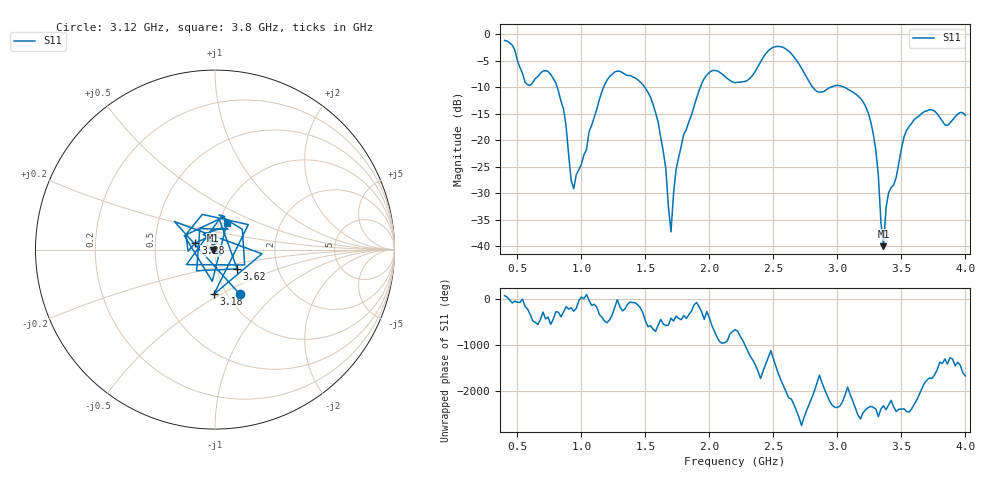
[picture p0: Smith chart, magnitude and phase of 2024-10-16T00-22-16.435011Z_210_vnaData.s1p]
! Created with skrf (http://scikit-rf.org).
# Hz S RI R 50.0
!freq ReS11 ImS11
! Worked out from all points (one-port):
!   181 points, 400 MHz to 4 GHz, reference 50 ohm
!   lowest |S11| = -40.0 dB at 3.36 GHz (marker M1), VSWR 1.02, Z = 49 - j0.231 ohm
!   |S11| at or under -10 dB: 810.9 MHz to 1.174 GHz (362.7 MHz wide, 36.6 % of centre); 1.494 GHz to 1.929 GHz (434.6 MHz wide, 25.4 % of centre); 3.054 GHz to end of sweep (the widest 3 of 4)
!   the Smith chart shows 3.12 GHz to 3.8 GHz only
!   S11 on the Smith chart (normalised r, x): 3.12 GHz: 1.14, -0.62; 3.18 GHz: 0.87, -0.46; 3.28 GHz: 0.80, +0.06; 3.62 GHz: 1.25, -0.28; 3.8 GHz: 1.09, +0.34
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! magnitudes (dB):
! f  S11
! 400 MHz  -1.2
! 580 MHz  -9.5
! 760 MHz  -7.6
! 860 MHz  -14.1
! 940 MHz  -29.1
! 1.18 GHz  -9.6
! 1.3 GHz  -7.0
! 1.56 GHz  -13.3
! 1.66 GHz  -25.5
! 1.7 GHz  -37.3
! 1.72 GHz  -30.0
! 1.76 GHz  -23.2
! 1.96 GHz  -8.3
! 2.2 GHz  -9.2
! 2.5 GHz  -2.5
! 2.66 GHz  -4.3
! 2.84 GHz  -10.8
! 3.1 GHz  -10.6
! 3.12 GHz  -10.9
! 3.18 GHz  -12.1
! 3.28 GHz  -18.8
! 3.32 GHz  -26.7
! 3.36 GHz  -40.0
! 3.4 GHz  -29.9
! 3.56 GHz  -17.4
! 3.62 GHz  -15.7
! 3.8 GHz  -15.7
! 4 GHz  -15.3
